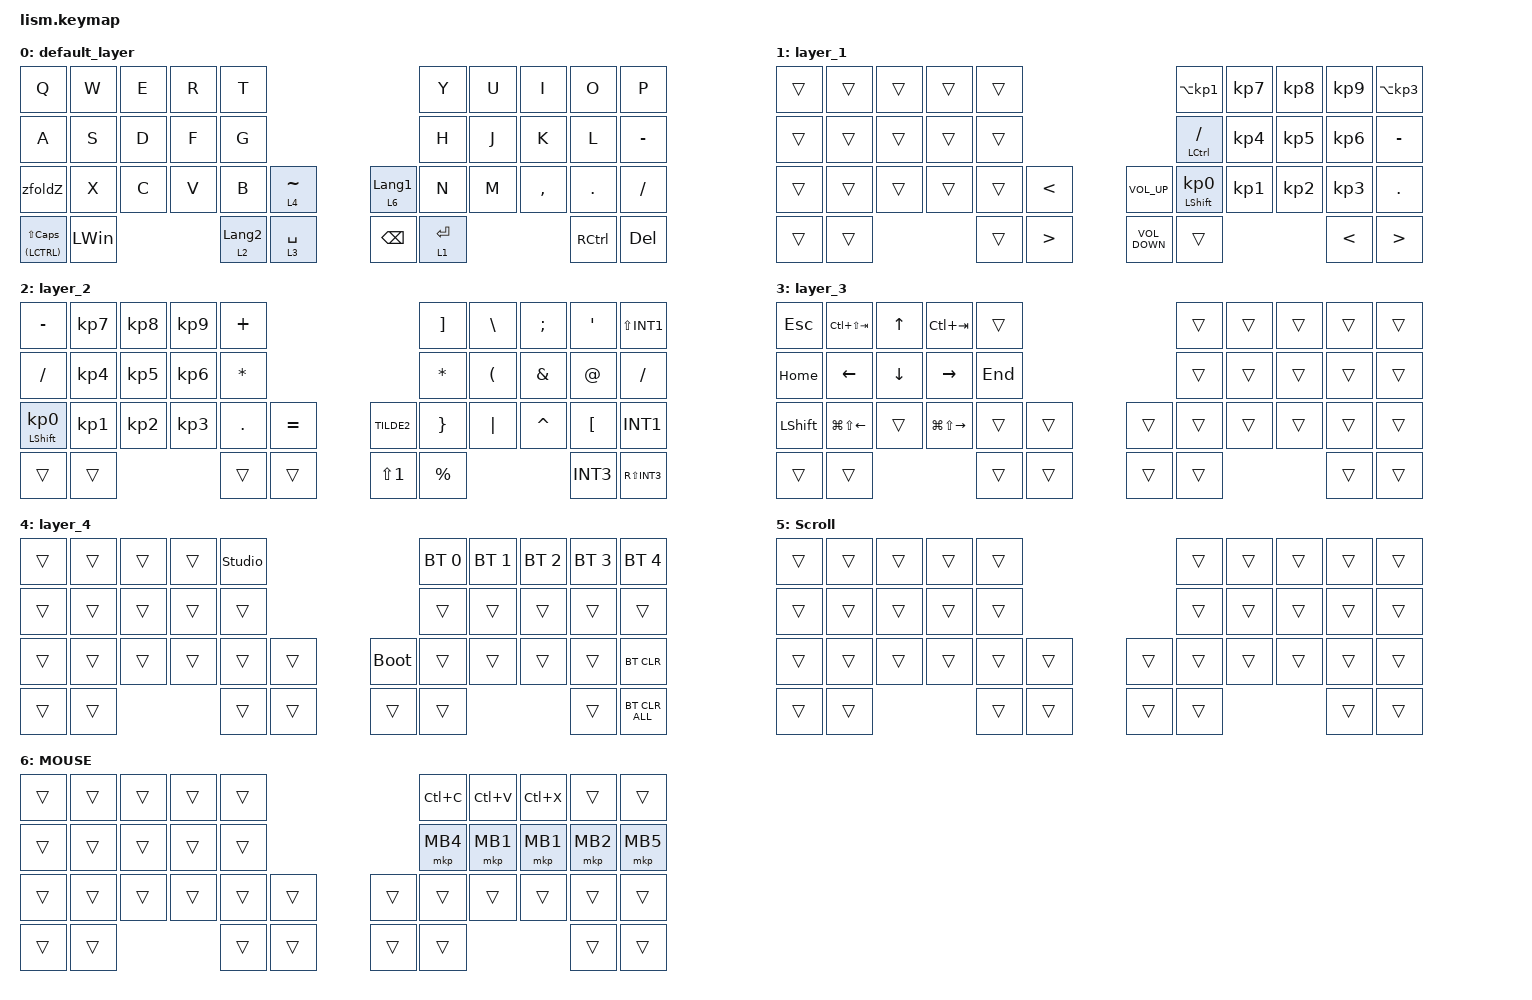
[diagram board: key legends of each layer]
#include <input/processors.dtsi>
#include <dt-bindings/zmk/input_transform.h>
#include <zephyr/dt-bindings/input/input-event-codes.h>

#define ZMK_POINTING_DEFAULT_SCRL_VAL 100

#include <dt-bindings/zmk/mouse.h>
#include <behaviors/runtime-sensor-rotate.dtsi>
#include <behaviors/default_layer.dtsi>
#include <dt-bindings/zmk_behavior_default_layer/default_layer.h>
#include <behaviors.dtsi>
#include <dt-bindings/zmk/bt.h>
#include <dt-bindings/zmk/keys.h>
#include <dt-bindings/zmk/pointing.h>

&mt {
    tapping-term-ms = <300>;
    flavor = "balanced";
};

&lt { quick-tap-ms = <300>; };

/ {
    macros {
        emoji: emoji_macro {
            compatible = "zmk,behavior-macro";
            label = "EMOJI";
            #binding-cells = <0>;
            bindings =
                <&macro_press>,
                <&kp CAPSLOCK>,
                <&macro_tap>,
                <&kp E>,
                <&macro_release>,
                <&kp CAPSLOCK>;
        };
    };

    combos {
        compatible = "zmk,combos";

        // 例：特定の2つのキーを同時に押したときにレイヤー5をアクティブにする

        combo_scroll_layer {
            timeout-ms = <50>;
            bindings = <&mo 5>;
            key-positions = <17 18>; // 同時に押すキーのインデックス番号を指定
            slow-release;
            require-prior-idle-ms = <130>; // 暴発を防ぎつつ、スクロールへの移行をスムーズにするために少し短め
        };

        combo_scroll_layer_p {
            bindings = <&mo 5>;
            key-positions = <11 12>;
            slow-release;
            timeout-ms = <50>;
            require-prior-idle-ms = <130>;
        };
    };

    behaviors {
        // エンコーダ用 runtime-configurable sensor rotate
        // デフォルトはスクロール (cw=SCRL_DOWN, ccw=SCRL_UP)
        // DYA Studio Web UI から レイヤーごとに cw/ccw の binding を
        // kp C_VOL_UP/DN や kp LEFT/RIGHT などへ動的変更可能

        rsr_default: rsr_default {
            compatible = "zmk,behavior-runtime-sensor-rotate";
            #sensor-binding-cells = <0>;
            tap-ms = <16>;
            cw-binding = <&msc SCRL_DOWN>;
            ccw-binding = <&msc SCRL_UP>;
        };

        tog_on: toggle_layer_on_only {
            compatible = "zmk,behavior-toggle-layer";
            #binding-cells = <1>;
            display-name = "Toggle Layer On";
            toggle-mode = "on";
        };

        tog_off: toggle_layer_off_only {
            compatible = "zmk,behavior-toggle-layer";
            #binding-cells = <1>;
            display-name = "Toggle Layer Off";
            toggle-mode = "off";
        };

        zfold: zfold {
            compatible = "zmk,behavior-hold-tap";
            label = "ZFOLD";
            bindings = <&kp>, <&kp>;

            #binding-cells = <2>;
            tapping-term-ms = <300>;
            flavor = "hold-preferred";
            quick-tap-ms = <150>;
            hold-while-undecided;
        };

        zfoldZ: zfoldZ {
            compatible = "zmk,behavior-tap-dance";
            label = "ZFOLDZ";
            #binding-cells = <0>;
            bindings = <&zfold LEFT_SHIFT Z>, <&kp LS(Z)>;
        };
    };

    keymap {
        compatible = "zmk,keymap";

        default_layer {
            bindings = <
&kp Q    &kp W      &kp E                 &kp R         &kp T             &kp Y        &kp U             &kp I        &kp O              &kp P
&kp A    &kp S      &kp D                 &kp F         &kp G             &kp H        &kp J             &kp K        &kp L              &kp MINUS
&zfoldZ  &kp X      &kp C                 &kp V         &kp B             &lt 4 TILDE  &lt 6 LANGUAGE_1  &kp N        &kp M              &kp COMMA
&kp DOT  &kp SLASH  &mt (LCTRL) LS(CAPS)  &kp LEFT_WIN  &lt 2 LANGUAGE_2  &lt 3 SPACE  &kp BACKSPACE     &lt 1 ENTER  &kp RIGHT_CONTROL  &kp DEL
            >;
        };

        layer_1 {
            bindings = <
&trans           &trans      &trans  &trans  &trans  &kp LA(KP_NUMBER_1)  &kp KP_NUMBER_7    &kp KP_NUMBER_8             &kp KP_NUMBER_9  &kp LA(KP_NUMBER_3)
&trans           &trans      &trans  &trans  &trans  &mt LCTRL SLASH      &kp KP_NUMBER_4    &kp KP_NUMBER_5             &kp KP_NUMBER_6  &kp MINUS
&trans           &trans      &trans  &trans  &trans  &kp LESS_THAN        &kp C_VOLUME_UP    &mt LEFT_SHIFT KP_NUMBER_0  &kp KP_NUMBER_1  &kp KP_NUMBER_2
&kp KP_NUMBER_3  &kp PERIOD  &trans  &trans  &trans  &kp GREATER_THAN     &kp C_VOLUME_DOWN  &trans                      &kp LESS_THAN    &kp GREATER_THAN
            >;
        };

        layer_2 {
            bindings = <
&kp MINUS                   &kp KP_NUMBER_7  &kp KP_NUMBER_8  &kp KP_NUMBER_9  &kp PLUS      &kp RIGHT_BRACKET  &kp BACKSLASH         &kp SEMICOLON    &kp SINGLE_QUOTE  &kp LS(INT1)
&kp SLASH                   &kp KP_NUMBER_4  &kp KP_NUMBER_5  &kp KP_NUMBER_6  &kp ASTERISK  &kp ASTRK          &kp LEFT_PARENTHESIS  &kp AMPERSAND    &kp AT            &kp SLASH
&mt LEFT_SHIFT KP_NUMBER_0  &kp KP_NUMBER_1  &kp KP_NUMBER_2  &kp KP_NUMBER_3  &kp PERIOD    &kp EQUAL          &kp TILDE2            &kp RIGHT_BRACE  &kp PIPE          &kp CARET
&kp LEFT_BRACKET            &kp INT1         &trans           &trans           &trans        &trans             &kp LS(NUMBER_1)      &kp PERCENT      &kp INT3          &kp RS(INT3)
            >;
        };

        layer_3 {
            bindings = <
&kp ESCAPE      &kp LC(LS(TAB))         &kp UP_ARROW    &kp LC(TAB)              &trans   &trans  &trans  &trans  &trans  &trans
&kp HOME        &kp LEFT_ARROW          &kp DOWN_ARROW  &kp RIGHT_ARROW          &kp END  &trans  &trans  &trans  &trans  &trans
&kp LEFT_SHIFT  &kp LG(LS(LEFT_ARROW))  &trans          &kp LG(LS(RIGHT_ARROW))  &trans   &trans  &trans  &trans  &trans  &trans
&trans          &trans                  &trans          &trans                   &trans   &trans  &trans  &trans  &trans  &trans
            >;
        };

        layer_4 {
            bindings = <
&trans  &trans      &trans  &trans  &studio_unlock  &bt BT_SEL 0  &bt BT_SEL 1  &bt BT_SEL 2  &bt BT_SEL 3  &bt BT_SEL 4
&trans  &trans      &trans  &trans  &trans          &trans        &trans        &trans        &trans        &trans
&trans  &trans      &trans  &trans  &trans          &trans        &bootloader   &trans        &trans        &trans
&trans  &bt BT_CLR  &trans  &trans  &trans          &trans        &trans        &trans        &trans        &bt BT_CLR_ALL
            >;
        };

        scroll_layer {
            display-name = "Scroll";
            bindings = <
&trans  &trans  &trans  &trans  &trans  &trans  &trans  &trans  &trans  &trans
&trans  &trans  &trans  &trans  &trans  &trans  &trans  &trans  &trans  &trans
&trans  &trans  &trans  &trans  &trans  &trans  &trans  &trans  &trans  &trans
&trans  &trans  &trans  &trans  &trans  &trans  &trans  &trans  &trans  &trans
            >;
        };

        MOUSE {
            bindings = <
&trans  &trans  &trans  &trans  &trans  &kp LC(C)  &kp LC(V)  &kp LC(X)  &trans    &trans
&trans  &trans  &trans  &trans  &trans  &mkp MB4   &mkp MB1   &mkp MB1   &mkp MB2  &mkp MB5
&trans  &trans  &trans  &trans  &trans  &trans     &trans     &trans     &trans    &trans
&trans  &trans  &trans  &trans  &trans  &trans     &trans     &trans     &trans    &trans
            >;
        };
    };
};
